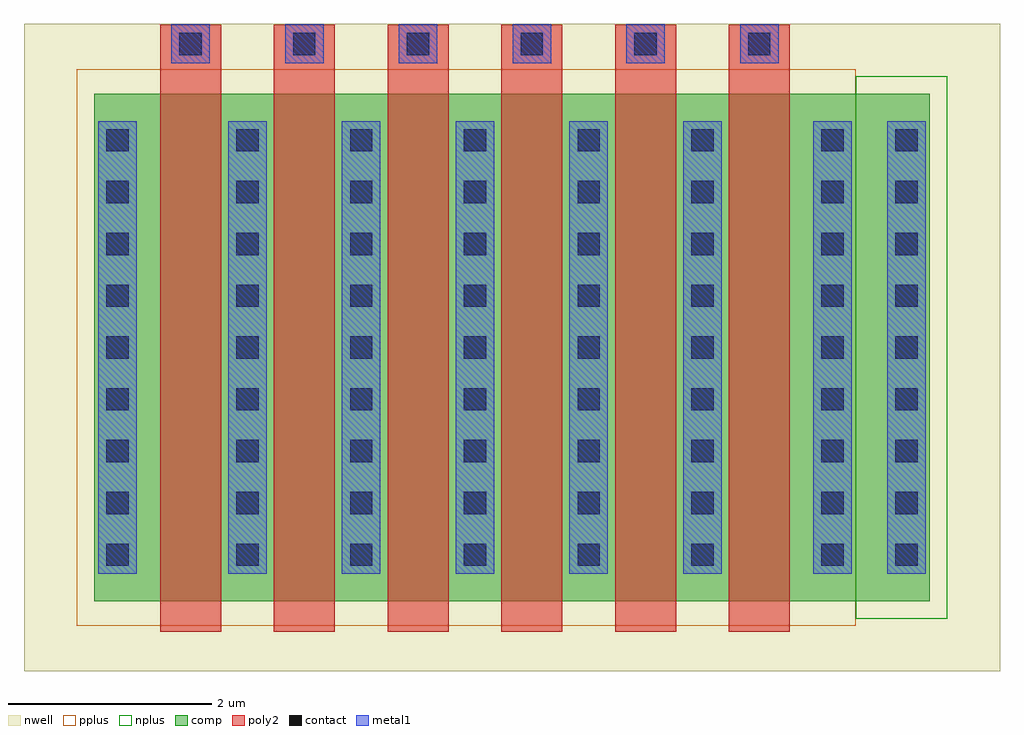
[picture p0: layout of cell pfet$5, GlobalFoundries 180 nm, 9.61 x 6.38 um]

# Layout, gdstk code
import gdstk
lib = gdstk.Library(unit=1e-6, precision=1e-09)
def R(c, l, rs):  # rectangles x0, y0, x1, y1
    for r in rs: c.add(gdstk.rectangle(r[:2], r[2:], *l))
def A(c, l, x, y, w, h, nx, ny, dx, dy):  # array of equal rectangles
    R(c, l, [(x+i*dx, y+j*dy, x+i*dx+w, y+j*dy+h) for i in range(nx) for j in range(ny)])
nwell = (21, 0)
comp = (22, 0)
poly2 = (30, 0)
pplus = (31, 0)
nplus = (32, 0)
contact = (33, 0)
metal1 = (34, 0)

pfet_5 = lib.new_cell('pfet$5')
R(pfet_5, nwell, [(-1.15,-0.69,8.46,5.69)])
R(pfet_5, comp, [(-0.46,0,0,5), (0,0,6.58,5), (6.58,0,7.04,5), (7.04,0,7.77,5)])
A(pfet_5, poly2, 0.19, -0.3, 0.6, 5.6, 6, 1, 1.12, 0)
A(pfet_5, poly2, 0.19, 5.3, 0.6, 0.38, 6, 1, 1.12, 0)
R(pfet_5, pplus, [(-0.63,-0.24,7.04,5.24)])
R(pfet_5, nplus, [(7.04,-0.17,7.94,5.17)])
A(pfet_5, contact, -0.34, 0.35, 0.22, 0.22, 1, 9, 0, 0.51)
A(pfet_5, contact, 0.94, 0.35, 0.22, 0.22, 5, 9, 1.12, 0.51)
A(pfet_5, contact, 6.7, 0.35, 0.22, 0.22, 1, 9, 0, 0.51)
A(pfet_5, contact, 7.43, 0.35, 0.22, 0.22, 1, 9, 0, 0.51)
A(pfet_5, contact, 0.38, 5.38, 0.22, 0.22, 6, 1, 1.12, 0)
A(pfet_5, metal1, 0.86, 0.27, 0.38, 4.46, 5, 1, 1.12, 0)
A(pfet_5, metal1, 0.3, 5.299, 0.38, 0.382, 6, 1, 1.12, 0)
R(pfet_5, metal1, [(-0.42,0.27,-0.04,4.73), (6.62,0.27,7,4.73), (7.35,0.27,7.73,4.73)])

lib.write_gds('pfet_5.gds')
